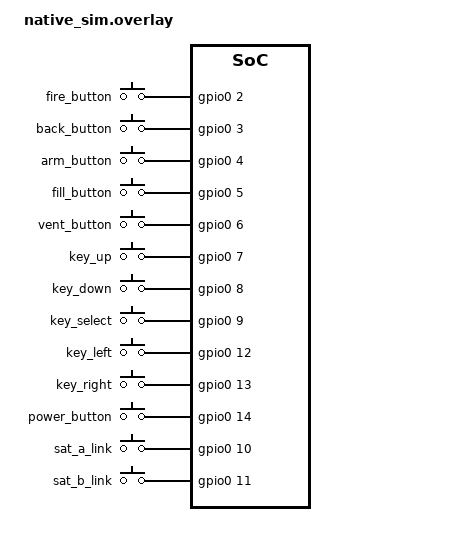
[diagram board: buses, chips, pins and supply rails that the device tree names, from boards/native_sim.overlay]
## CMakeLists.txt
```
# SPDX-License-Identifier: Apache-2.0

cmake_minimum_required(VERSION 3.20.0)

# The controller board itself: firmware/boards/others/alturia_controller.
list(APPEND BOARD_ROOT ${CMAKE_CURRENT_SOURCE_DIR}/..)

find_package(Zephyr REQUIRED HINTS $ENV{ZEPHYR_BASE})
project(launch_controller_ui)

# Headers LVGL itself includes (1-bit blend fix, see prj.conf)
zephyr_include_directories(src/lvgl)

target_sources(app PRIVATE
	src/main.c
	src/controller.c
	src/pads.c
	src/ui.c
	src/ui/widgets.c
	src/ui/list.c
	src/ui/armed.c
	src/ui/launch.c
	src/ui/menu.c
	src/ui/pads.c
	src/ui/sats.c
	src/ui/diag.c
	src/ui/dialogs.c
	src/inputs.c
	src/power.c
	src/battery.c
	src/shell_cmds.c
	src/link_lsec.c
	src/fonts/ui_font_18.c
	src/fonts/ui_font_20.c
	src/fonts/ui_font_28.c
	src/logo/ui_logo.c
)
# The views in src/ui include the app's headers from src
target_include_directories(app PRIVATE src)

# The controller's end of the secure link (../common/link). The satellite
# simulator stands in for the LoRa radio and the satellites; without it the
# link runs over the radio.
set(LSEC_LINK ctrl)
if(NOT CONFIG_APP_SAT_SIM)
	set(LSEC_RADIO ON)
endif()
include(${CMAKE_CURRENT_SOURCE_DIR}/../common/link/link_sec.cmake)

# Command and status payloads, shared with the satellite.
target_include_directories(app PRIVATE ../common/wire)
target_sources(app PRIVATE ../common/wire/sat_wire.c)

# Buzzer tunes, shared with the satellite.
target_include_directories(app PRIVATE ../common/chime)
target_sources(app PRIVATE ../common/chime/chime.c)

target_sources_ifdef(CONFIG_APP_SAT_SIM app PRIVATE src/sat_sim.c)
target_sources_ifdef(CONFIG_PM app PRIVATE src/sleep.c)

# A node of the radio network simulator (radiosim.conf, radiosim.overlay):
# the screen and the controls live in the simulator's web UI.
if(LSEC_RADIO_SIM)
	target_sources(app PRIVATE src/sim_display.c src/sim_panel.c)
endif()
```

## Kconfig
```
mainmenu "Launch controller UI"

config APP_SAT_SIM
	bool "Simulated satellites and LoRa link"
	default y
	help
	  Replace the LoRa link with an in-process satellite simulator.
	  Fault injection is available through the "sat" shell command.

config APP_PREARM_CONTINUITY
	bool "Satellites report continuity while disarmed"
	default y
	help
	  The satellites' continuity readings are real before arming, so the
	  main list shows them. Without it the list shows "?" until the
	  pads are armed, and continuity is only judged from the armed
	  readings. The satellite firmware measures through V_TEST while
	  disarmed, one output every 0.65 s or so.

config APP_ARMED_BEEP
	bool "Click every 2 s while armed"
	default y
	help
	  The buzzer clicks every 2 s while pads are armed, so nobody near
	  the controller can miss it. Arming, disarming, a launch, a fault
	  and a refused button have their tunes either way.

config APP_POLL_PERIOD_MS
	int "Heartbeat poll period in milliseconds"
	default 1200
	help
	  How often the controller polls its satellites when it has nothing
	  new to tell them. Keep it well below LINK_SAT_SAFE_TIMEOUT_MS: a
	  satellite goes SAFE after that long without a poll.

config APP_CMD_RETRY_MS
	int "Command retry period in milliseconds"
	default 300
	help
	  While a command (ARM, DISARM, FIRE, a valve change) has not been
	  acknowledged by the satellite's status, the controller polls this
	  often (plus up to 100 ms of jitter) instead of the heartbeat period.

config APP_ARM_TIMEOUT_S
	int "Arm timeout in seconds"
	default 60
	help
	  Operator inactivity after which the controller disarms. FILL and
	  VENT restart it, and it is paused while a hybrid pad is filling.

config APP_FIRE_HOLD_MS
	int "Fire button hold time in milliseconds"
	default 1000
	help
	  The fire control must be held continuously for this long
	  before the fire command is sent.

rsource "../common/link/Kconfig"

source "Kconfig.zephyr"
```

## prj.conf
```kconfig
CONFIG_MAIN_STACK_SIZE=8192

CONFIG_LOG=y
CONFIG_SHELL=y

CONFIG_DISPLAY=y
CONFIG_DISPLAY_LOG_LEVEL_ERR=y
# The emulated panel is small; show it at double size
CONFIG_SDL_DISPLAY_ZOOM_PCT=200
CONFIG_INPUT=y
# No touch: all input comes from physical controls
CONFIG_LV_Z_POINTER_FROM_CHOSEN_TOUCH=n
CONFIG_GPIO=y

CONFIG_LVGL=y
CONFIG_LV_Z_MEM_POOL_SIZE=196608
CONFIG_LV_Z_SHELL=y
CONFIG_LV_USE_LOG=y
# 1-bit Sharp Memory LCD class panel
CONFIG_LV_COLOR_DEPTH_1=y
# Fix inverted (white on black) text in 1-bit rendering, see src/lvgl/i1_blend_fix.h
CONFIG_LV_DRAW_SW_ASM_CUSTOM=y
CONFIG_LV_DRAW_SW_ASM_CUSTOM_INCLUDE="i1_blend_fix.h"
# UI fonts are generated, see src/fonts/gen.sh; this is only LVGL's default
CONFIG_LV_FONT_MONTSERRAT_14=y
CONFIG_LV_FONT_DEFAULT_MONTSERRAT_14=y
# Keep hyphenated words like E-STOP together when wrapping
CONFIG_LV_TXT_BREAK_CHARS=" ,.;:_)}"
CONFIG_LV_USE_THEME_DEFAULT=y
CONFIG_SHELL_LOG_BACKEND=n

# Persistent configuration (pad labels) on the storage partition
CONFIG_FLASH=y
CONFIG_FLASH_MAP=y
CONFIG_ZMS=y
CONFIG_SETTINGS=y
CONFIG_SETTINGS_ZMS=y
CONFIG_SETTINGS_SHELL=y

# Secure LoRa link, see design/radio_security.md: ECDH P-256 pairing,
# HMAC/HKDF-SHA256, AES-128-CCM frames
CONFIG_PSA_CRYPTO=y
CONFIG_MBEDTLS_ENABLE_HEAP=y
CONFIG_MBEDTLS_HEAP_SIZE=8192
CONFIG_PSA_WANT_KEY_TYPE_AES=y
CONFIG_PSA_WANT_ALG_CCM=y
CONFIG_PSA_WANT_ALG_SHA_256=y
CONFIG_PSA_WANT_ALG_HMAC=y
CONFIG_PSA_WANT_ALG_HKDF=y
CONFIG_PSA_WANT_ALG_ECDH=y
CONFIG_PSA_WANT_ECC_SECP_R1_256=y
CONFIG_PSA_WANT_KEY_TYPE_ECC_KEY_PAIR_GENERATE=y
CONFIG_PSA_WANT_KEY_TYPE_ECC_PUBLIC_KEY=y
CONFIG_ENTROPY_GENERATOR=y

# Reply slots are timed to the millisecond; the ESP32 default of 100 ticks
# per second would round every wait to 10 ms.
CONFIG_SYS_CLOCK_TICKS_PER_SEC=10000
```

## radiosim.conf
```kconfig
# The controller as a node of the radio network simulator (tools/radiosim):
# the real link over the simulated radio (common/lora/radio_sim.c) instead
# of the in-process satellite simulator. Build with
#   -DEXTRA_CONF_FILE=radiosim.conf -DEXTRA_DTC_OVERLAY_FILE=radiosim.overlay
CONFIG_APP_SAT_SIM=n
CONFIG_GPIO_EMUL=y
# The controller's net_id and a satellite's uid in the simulator's list
CONFIG_HWINFO=y
```

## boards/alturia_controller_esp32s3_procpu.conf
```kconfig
# The real controller board (firmware/boards/others/alturia_controller).
# The console and shell are on USB-C (USB Serial/JTAG).

# The LoRa link instead of the in-process satellite simulator (Wio-SX1262)
CONFIG_APP_SAT_SIM=n
CONFIG_LORA=y
CONFIG_LORA_SHELL=n

# The native SX126x driver, kept in standby between operations, as on the
# satellite (see firmware/satellite/boards/alturia_satellite.conf).
CONFIG_LORA_MODULE_BACKEND_NATIVE=y
CONFIG_LORA_SX126X_NATIVE_SLEEP=n

# Own battery: MAX17048 fuel gauge and BQ24296M charger on I2C
CONFIG_I2C=y
CONFIG_FUEL_GAUGE=y
CONFIG_CHARGER=y

# Start-up chime on the PWM buzzer
CONFIG_BUZZER=y

# Light sleep whenever every thread waits (src/sleep.c). The RTC timer
# wakes it for timeouts, the keys, LORA_DIO1 and USB_PGOOD for events.
CONFIG_PM=y
CONFIG_COUNTER=y
# Only for the RTC timer's wakeup-source, which the SoC code checks. The
# devices must not be suspended around each sleep: gpio-keys would mask
# the very interrupts that wake it.
CONFIG_PM_DEVICE=y
CONFIG_PM_DEVICE_SYSTEM_MANAGED=n

# Bring-up: poke pins from the shell (gpio get/set/conf/info)
CONFIG_GPIO_SHELL=y
CONFIG_PWM_SHELL=y
CONFIG_REBOOT=y

# The USB console is the shell, so logs have to go through it.
CONFIG_SHELL_LOG_BACKEND=y
```

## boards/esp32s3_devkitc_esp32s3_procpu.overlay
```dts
/*
 * ESP32-S3-DevKitC-1 with a bare 400x240 Sharp Memory LCD (LS027B7DH01)
 * on SPI2, for trying the UI on a real panel. There are no controls yet:
 * drive it with the "ctrl" and "sat" shell commands on the native USB port
 * (USB Serial/JTAG, the board's "USB" connector). Boot messages and logs
 * stay on uart0, the "UART" connector.
 *
 *   Panel   ESP32-S3   Note
 *   SCLK    IO45
 *   SI/DI   IO48
 *   SCS     IO47       active high, so it is driven as a plain GPIO
 *   VDD     3V3        5V on the Adafruit breakout
 *   GND     GND
 *
 * EXTCOMIN and DISP are left unconnected. Without EXTCOMIN the panel still
 * needs its VCOM inverted or it degrades, so the driver sends the inversion
 * over SPI instead (serial-vcom-inversion), and DISP is assumed tied high
 * on the breakout, which is why display_blanking_off() only warns here.
 */

#include <zephyr/dt-bindings/gpio/gpio.h>
#include <zephyr/dt-bindings/pinctrl/esp32s3-pinctrl.h>

/ {
	chosen {
		zephyr,display = &sharp_lcd;
		zephyr,shell-uart = &usb_serial;
	};
};

&usb_serial {
	status = "okay";
};

&pinctrl {
	/* Replaces the board's spim2_default; the panel is write-only, so
	 * there is no MISO, and CS is a GPIO rather than the SPI peripheral's.
	 */
	spim2_lcd: spim2_lcd {
		group1 {
			pinmux = <SPIM2_SCLK_GPIO45>;
		};

		group2 {
			pinmux = <SPIM2_MOSI_GPIO48>;
			output-low;
		};
	};
};

&spi2 {
	status = "okay";
	pinctrl-0 = <&spim2_lcd>;
	pinctrl-names = "default";
	cs-gpios = <&gpio1 15 GPIO_ACTIVE_HIGH>;	/* IO47 */

	sharp_lcd: ls0xx@0 {
		compatible = "sharp,ls0xx";
		reg = <0>;
		/* The panel is rated 2 MHz; the flying leads of a breadboard
		 * setup will not do much better anyway.
		 */
		spi-max-frequency = <2000000>;
		width = <400>;
		height = <240>;
		serial-vcom-inversion;
	};
};

/* IO45 is a strapping pin (VDD_SPI voltage) and IO48 drives the on-board
 * RGB LED on DevKitC-1 v1.0. Neither matters once the board has booted.
 */
```

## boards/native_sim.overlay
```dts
/*
 * native_sim: emulates a 400x240 1-bit Sharp Memory LCD (LS027B7DH01 class)
 * in an SDL window. There is no touch; mouse and keyboard stand in for the
 * controller's physical controls.
 *
 *   Arrows, Enter   D-pad (mouse wheel and click also work as up/down, OK)
 *   Esc    BACK button (hold to leave the button test)
 *   A      ARM button
 *   F      FILL button (hybrid pads, toggle)
 *   V      VENT button (hybrid pads, toggle)
 *   Space  FIRE button (hold)
 *   P      power button
 *
 * Simulator only (fault injection, not a controller control):
 *   F1, F2  toggle the radio link of satellite A, B
 */

#include <zephyr/dt-bindings/display/panel.h>
#include <zephyr/dt-bindings/input/input-event-codes.h>

&sdl_dc {
	width = <400>;
	height = <240>;
	pixel-format = <PANEL_PIXEL_FORMAT_MONO01>;
};

&gpio0 {
	ngpios = <15>;

	sdl_gpio {
		status = "okay";
		compatible = "zephyr,gpio-emul-sdl";
		/*
		 * USB HID scancodes, indexed by pin. Pin 0 is led0 and pin 1
		 * was an arm key switch the controller does not have, so both
		 * get the unused code 0.
		 * Space=44 Esc=41 A=4 F=9 V=25 Up=82 Down=81 Enter=40
		 * F1=58 F2=59 Left=80 Right=79 P=19
		 */
		scancodes = <0 0 44 41 4 9 25 82 81 40 58 59 80 79 19>;
	};
};

/ {
	ctrl_keys: ctrl_keys {
		compatible = "gpio-keys";

		fire_button {
			gpios = <&gpio0 2 GPIO_ACTIVE_HIGH>;
			zephyr,code = <INPUT_KEY_SPACE>;
		};

		back_button {
			gpios = <&gpio0 3 GPIO_ACTIVE_HIGH>;
			zephyr,code = <INPUT_KEY_BACK>;
		};

		arm_button {
			gpios = <&gpio0 4 GPIO_ACTIVE_HIGH>;
			zephyr,code = <INPUT_KEY_A>;
		};

		fill_button {
			gpios = <&gpio0 5 GPIO_ACTIVE_HIGH>;
			zephyr,code = <INPUT_KEY_F>;
		};

		vent_button {
			gpios = <&gpio0 6 GPIO_ACTIVE_HIGH>;
			zephyr,code = <INPUT_KEY_V>;
		};

		key_up {
			gpios = <&gpio0 7 GPIO_ACTIVE_HIGH>;
			zephyr,code = <INPUT_KEY_UP>;
		};

		key_down {
			gpios = <&gpio0 8 GPIO_ACTIVE_HIGH>;
			zephyr,code = <INPUT_KEY_DOWN>;
		};

		key_select {
			gpios = <&gpio0 9 GPIO_ACTIVE_HIGH>;
			zephyr,code = <INPUT_KEY_ENTER>;
		};

		key_left {
			gpios = <&gpio0 12 GPIO_ACTIVE_HIGH>;
			zephyr,code = <INPUT_KEY_LEFT>;
		};

		key_right {
			gpios = <&gpio0 13 GPIO_ACTIVE_HIGH>;
			zephyr,code = <INPUT_KEY_RIGHT>;
		};

		power_button {
			gpios = <&gpio0 14 GPIO_ACTIVE_HIGH>;
			zephyr,code = <INPUT_KEY_POWER>;
		};
	};

	/* Handled by the satellite simulator, see sat_sim.c */
	sim_keys {
		compatible = "gpio-keys";

		sat_a_link {
			gpios = <&gpio0 10 GPIO_ACTIVE_HIGH>;
			zephyr,code = <INPUT_KEY_F1>;
		};

		sat_b_link {
			gpios = <&gpio0 11 GPIO_ACTIVE_HIGH>;
			zephyr,code = <INPUT_KEY_F2>;
		};
	};
};
```

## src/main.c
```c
/*
 * Launch controller UI test bench.
 *
 * LVGL runs in the main thread. The controller state machine is ticked
 * from an LVGL timer in the same thread, so UI and controller never race.
 */

#include <zephyr/device.h>
#include <zephyr/drivers/display.h>
#include <zephyr/kernel.h>
#include <zephyr/logging/log.h>
#include <lvgl.h>

#include "chime.h"
#include "controller.h"
#include "link.h"
#include "pads.h"
#include "ui.h"

LOG_MODULE_REGISTER(app, LOG_LEVEL_INF);

#define CTRL_PERIOD_MS 50

static void ctrl_timer_cb(lv_timer_t *timer)
{
	ARG_UNUSED(timer);
	ctrl_tick();
	ui_refresh();
}

int main(void)
{
	const struct device *display = DEVICE_DT_GET(DT_CHOSEN(zephyr_display));

	if (!device_is_ready(display)) {
		LOG_ERR("display not ready");
		chime_error();
		return 0;
	}

	/* The splash first, while the rest starts up */
	ui_init();
	lv_timer_handler();
	display_blanking_off(display);

	(void)pads_init();
	/* After pads_init(), which brings up the settings subsystem */
	if (link_init()) {
		LOG_ERR("secure link failed to start");
		chime_error();
	} else {
		chime_startup();
	}
	lv_timer_create(ctrl_timer_cb, CTRL_PERIOD_MS, NULL);

	LOG_INF("launch controller UI running");

	/*
	 * Sleep until LVGL's next timer: the controller tick, or a redraw.
	 * Requests posted in between wait for the tick anyway, so waking more
	 * often would only cost battery.
	 */
	while (true) {
		uint32_t sleep_ms = lv_timer_handler();

		k_msleep(MIN(sleep_ms, CTRL_PERIOD_MS));
	}
	return 0;
}
```

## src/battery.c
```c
/* SPDX-License-Identifier: Apache-2.0 */

#include <errno.h>

#include <zephyr/device.h>
#include <zephyr/drivers/charger.h>
#include <zephyr/drivers/fuel_gauge.h>
#include <zephyr/drivers/gpio.h>
#include <zephyr/kernel.h>
#include <zephyr/logging/log.h>

#include "battery.h"

LOG_MODULE_REGISTER(battery, LOG_LEVEL_INF);

#define POLL_MS 2000

#define GAUGE_NODE   DT_ALIAS(fuel_gauge0)
#define CHARGER_NODE DT_ALIAS(charger0)
#define USER_NODE    DT_PATH(zephyr_user)

#define HAVE_GAUGE   (IS_ENABLED(CONFIG_FUEL_GAUGE) && DT_NODE_HAS_STATUS_OKAY(GAUGE_NODE))
#define HAVE_CHARGER (IS_ENABLED(CONFIG_CHARGER) && DT_NODE_HAS_STATUS_OKAY(CHARGER_NODE))

static K_MUTEX_DEFINE(lock);
static struct battery_info info = {.pgood = -1};

#if DT_NODE_HAS_PROP(USER_NODE, usb_pgood_gpios)
static const struct gpio_dt_spec pgood = GPIO_DT_SPEC_GET(USER_NODE, usb_pgood_gpios);
#endif

#if HAVE_GAUGE
static void read_gauge(struct battery_info *b)
{
	const struct device *dev = DEVICE_DT_GET(GAUGE_NODE);
	fuel_gauge_prop_t props[] = {
		FUEL_GAUGE_RELATIVE_STATE_OF_CHARGE_PCT,
		FUEL_GAUGE_VOLTAGE_UV,
		FUEL_GAUGE_RUNTIME_TO_EMPTY_MINS,
		FUEL_GAUGE_RUNTIME_TO_FULL_MINS,
	};
	union fuel_gauge_prop_val vals[ARRAY_SIZE(props)];

	b->gauge = device_is_ready(dev) &&
		   fuel_gauge_get_props(dev, props, vals, ARRAY_SIZE(props)) == 0;
	if (!b->gauge) {
		return;
	}
	b->soc_pct = MIN(vals[0].relative_state_of_charge_pct, 100);
	b->voltage_mv = vals[1].voltage_uv / 1000;
	b->to_empty_min = vals[2].runtime_to_empty_mins;
	b->to_full_min = vals[3].runtime_to_full_mins;
}
#endif

#if HAVE_CHARGER
static uint32_t charger_u32(const struct device *dev, charger_prop_t prop, bool *ok)
{
	union charger_propval val;

	if (charger_get_prop(dev, prop, &val)) {
		*ok = false;
		return 0;
	}
	/* Every property read here is a 32-bit current or voltage */
	return val.const_charge_current_ua;
}

static void read_charger(struct battery_info *b)
{
	const struct device *dev = DEVICE_DT_GET(CHARGER_NODE);
	union charger_propval val;
	bool ok = device_is_ready(dev);

	if (!ok) {
		b->charger = false;
		return;
	}
	ok &= charger_get_prop(dev, CHARGER_PROP_ONLINE, &val) == 0;
	b->online = val.online != CHARGER_ONLINE_OFFLINE;
	ok &= charger_get_prop(dev, CHARGER_PROP_STATUS, &val) == 0;
	b->status = val.status;
	ok &= charger_get_prop(dev, CHARGER_PROP_HEALTH, &val) == 0;
	b->health = val.health;

	b->ichg_ma = charger_u32(dev, CHARGER_PROP_CONSTANT_CHARGE_CURRENT_UA, &ok) / 1000;
	b->vreg_mv = charger_u32(dev, CHARGER_PROP_CONSTANT_CHARGE_VOLTAGE_UV, &ok) / 1000;
	b->iinlim_ma = charger_u32(dev, CHARGER_PROP_INPUT_REGULATION_CURRENT_UA, &ok) / 1000;
	b->vindpm_mv = charger_u32(dev, CHARGER_PROP_INPUT_REGULATION_VOLTAGE_UV, &ok) / 1000;
	b->iprechg_ma = charger_u32(dev, CHARGER_PROP_PRECHARGE_CURRENT_UA, &ok) / 1000;
	b->iterm_ma = charger_u32(dev, CHARGER_PROP_CHARGE_TERM_CURRENT_UA, &ok) / 1000;
	b->charger = ok;
}
#endif

static void poll(struct k_work *work);
static K_WORK_DELAYABLE_DEFINE(poll_work, poll);

static void poll(struct k_work *work)
{
	struct battery_info b;

	ARG_UNUSED(work);

	k_mutex_lock(&lock, K_FOREVER);
	b = info;
	k_mutex_unlock(&lock);

#if HAVE_GAUGE
	read_gauge(&b);
#endif
#if HAVE_CHARGER
	read_charger(&b);
#endif
#if DT_NODE_HAS_PROP(USER_NODE, usb_pgood_gpios)
	b.pgood = gpio_pin_get_dt(&pgood);
	b.pgood = b.pgood < 0 ? -1 : b.pgood;
#endif

	k_mutex_lock(&lock, K_FOREVER);
	info = b;
	k_mutex_unlock(&lock);

	k_work_reschedule(&poll_work, K_MSEC(POLL_MS));
}

static int battery_init(void)
{
#if DT_NODE_HAS_PROP(USER_NODE, usb_pgood_gpios)
	if (gpio_is_ready_dt(&pgood)) {
		(void)gpio_pin_configure_dt(&pgood, GPIO_INPUT);
	}
#endif
	k_work_reschedule(&poll_work, K_NO_WAIT);
	return 0;
}

SYS_INIT(battery_init, APPLICATION, 1);

void battery_get(struct battery_info *out)
{
	k_mutex_lock(&lock, K_FOREVER);
	*out = info;
	k_mutex_unlock(&lock);
}

bool battery_charging(const struct battery_info *b)
{
	return b->charger && b->status == CHARGER_STATUS_CHARGING;
}

int battery_fake(uint8_t soc_pct, bool charging)
{
	if (HAVE_GAUGE) {
		return -EBUSY;
	}
	k_mutex_lock(&lock, K_FOREVER);
	info.gauge = true;
	info.soc_pct = MIN(soc_pct, 100);
	info.voltage_mv = 3300 + 9 * info.soc_pct;
	info.charger = true;
	info.online = charging;
	info.status = charging ? CHARGER_STATUS_CHARGING : CHARGER_STATUS_DISCHARGING;
	info.health = CHARGER_HEALTH_GOOD;
	k_mutex_unlock(&lock);
	return 0;
}

const char *battery_status_text(enum charger_status status)
{
	switch (status) {
	case CHARGER_STATUS_CHARGING:
		return "charging";
	case CHARGER_STATUS_DISCHARGING:
		return "discharging";
	case CHARGER_STATUS_NOT_CHARGING:
		return "not charging";
	case CHARGER_STATUS_FULL:
		return "full";
	default:
		return "unknown";
	}
}

const char *battery_health_text(enum charger_health health)
{
	switch (health) {
	case CHARGER_HEALTH_GOOD:
		return "good";
	case CHARGER_HEALTH_OVERHEAT:
		return "overheat";
	case CHARGER_HEALTH_OVERVOLTAGE:
		return "overvoltage";
	case CHARGER_HEALTH_UNSPEC_FAILURE:
		return "input fault";
	case CHARGER_HEALTH_COLD:
		return "too cold";
	case CHARGER_HEALTH_WATCHDOG_TIMER_EXPIRE:
		return "watchdog";
	case CHARGER_HEALTH_SAFETY_TIMER_EXPIRE:
		return "timer expired";
	case CHARGER_HEALTH_HOT:
		return "too hot";
	default:
		return "unknown";
	}
}
```

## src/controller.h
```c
/*
 * Controller state machine. Owns every arm/fire/valve decision; the UI
 * only reads ctrl_view(). User intent arrives through ctrl_post(), from
 * the button input callback or the shell.
 * ctrl_tick() and ctrl_view() run in the LVGL thread.
 *
 * Operators select pads, not channels. The main list shows the pads of
 * every paired satellite, grouped by satellite in channel order; up and
 * down move over them, left and right jump to the previous and next
 * satellite, OK ticks a pad and BACK clears the ticks. ARM arms the ticked
 * pads, or the pad under the cursor if none is ticked, on every satellite
 * that hosts one of them. FIRE launches them all at once. On hybrid pads,
 * FILL and VENT toggle the valves while armed; either one, and LAUNCH,
 * stops a running fill.
 *
 * The controls are a D-pad (up, down, left, right, OK), BACK, ARM, FIRE,
 * FILL, VENT and the power button. BACK disarms, acknowledges a fault and
 * backs out of a screen.
 *
 * In SAFE, holding OK opens the menu:
 *  - Edit pad: the setup screen of the pad under the cursor.
 *  - Pads: every channel of every satellite and the pad using it; OK
 *    sets that pad up, or on a free channel sets up a new rocket pad.
 *  - Satellites: pairing and forgetting.
 *  - Messages: the last events, newest first.
 *  - Diagnostics, a menu of its own: the button test, which shows every
 *    button press instead of acting on it (holding BACK leaves), and the
 *    battery.
 *  - Power off.
 * While any of these is open, the D-pad acts on it, BACK backs out one
 * level, and ARM, FILL and VENT are refused. The power button asks to
 * switch off from anywhere in SAFE.
 */

#ifndef CONTROLLER_H_
#define CONTROLLER_H_

#include <stdbool.h>
#include <stdint.h>

#include "link.h"
#include "pads.h"

enum ctrl_state {
	CTRL_SAFE,
	CTRL_ARMING,
	CTRL_ARMED,
	CTRL_FIRING,
};

enum msg_level {
	MSG_INFO,   /* normal progress */
	MSG_WARN,   /* request refused or degraded, nothing unsafe happened */
	MSG_FAULT,  /* something went wrong during arm/fire, demands attention */
};

/* Commanded valve state of an armed hybrid pad */
enum hybrid_op {
	HYB_CLOSED,   /* fill closed, vent closed */
	HYB_FILLING,  /* fill open, vent closed */
	HYB_VENTING,  /* fill closed, vent open */
};

struct sat_view {
	uint64_t uid;   /* the paired satellite, 0 if none */
	bool joined;    /* secure session up */
	bool have_status;
	bool link_ok;   /* status received within the link timeout */
	/*
	 * Connected as far as the operator is told. Drops with link_ok, but
	 * only returns once the link has been stable for a while, so the
	 * state does not flicker at the edge of the radio range.
	 */
	bool visible;
	int64_t ok_since;
	int64_t rx_time;   /* uptime of the last status, -1 if none yet */
	struct sat_status st;
};

struct pad_view {
	/* Channel with a continuity problem, as text ("IGN OPEN"), or NULL */
	const char *problem;
	enum hybrid_op op;
	int64_t fill_start;
};

/* Characters offered by the label editor, in turning order */
#define LABEL_CHARSET " ABCDEFGHIJKLMNOPQRSTUVWXYZ0123456789-./#"

enum setup_field {
	FIELD_LABEL,
	FIELD_TYPE,
	FIELD_SAT,
	FIELD_IGN,
	FIELD_FILL,
	FIELD_VENT,
	FIELD_COUNT,
};

enum setup_mode {
	SETUP_FIELDS,  /* up/down: field, left/right: its value */
	SETUP_LABEL,   /* up/down: character, left/right: position */
};

/* Pad setup screen */
struct pad_setup {
	bool active;
	enum setup_mode mode;
	int pad;
	int field;
	int pos;                          /* label character being edited */
	char label[PAD_LABEL_MAX + 1];    /* being edited, space padded; BACK drops it */
	struct pad_cfg cfg;               /* draft */
	bool is_new;                      /* the pad was OFF: a new one */
	const char *error;                /* why the draft cannot be saved */
};

/* A list with a cursor: a menu, or the pad list */
struct menu_view {
	bool active;
	int cursor;
};

/* Menu entries, top to bottom */
enum settings_entry {
	SETTINGS_EDIT,
	SETTINGS_PADS,
	SETTINGS_SATS,
	SETTINGS_MSGS,
	SETTINGS_DIAG,
	SETTINGS_OFF,
	SETTINGS_COUNT,
};

/* Diagnostics menu entries, and the screen they open */
enum diag_entry {
	DIAG_BUTTONS,
	DIAG_BATTERY,
	DIAG_COUNT,
	DIAG_NONE = -1,
};

/* Satellites screen, opened from the settings screen */
struct sats_view {
	bool active;
	int cursor;
};

enum pair_phase {
	PAIR_SCAN,       /* listing satellites in pairing mode */
	PAIR_WAIT,       /* key exchange running */
	PAIR_COMPARE,    /* pattern shown, waiting for the operator */
	PAIR_CONFIRMED,  /* operator confirmed, waiting for the satellite's */
};

#define PAIR_MAX_FOUND 4

/*
 * Pairing one satellite slot, see design/radio_security.md. The operator
 * compares the pattern with the satellite's channel LEDs and confirms on
 * both devices.
 */
struct pair_view {
	bool active;
	enum pair_phase phase;
	int sat;
	int found;
	int cursor;
	uint64_t uid[PAIR_MAX_FOUND];
	int16_t rssi_dbm[PAIR_MAX_FOUND];
	uint8_t sas[LSEC_SAS_FRAMES];
};

/* Rows of the armed continuity table visible at once; up and down scroll */
#define ARMED_TABLE_ROWS 5

/* Messages visible at once on the messages screen */
#define MESSAGES_ROWS 8

struct ctrl_view {
	enum ctrl_state state;
	struct sat_view sat[NUM_SATS];
	struct pad_view pad[NUM_PADS];
	uint64_t selected;        /* ticked pads, BIT64(pad); while armed, the armed ones */
	/* What ARM would arm now: the ticked pads, else the one under the cursor */
	uint64_t arm_set;
	int cursor;               /* pad under the list cursor, -1 if none is listed */
	int table_scroll;         /* first visible row of the armed table */
	struct menu_view settings;    /* the menu, opened by holding OK */
	/* Channels of all satellites, from the menu; cursor: see ctrl_pads_sats() */
	struct menu_view pad_list;
	struct pad_setup setup;       /* from the menu or the channel list */
	struct menu_view messages;    /* from the menu; cursor: newest shown */
	struct sats_view sats;        /* from the settings menu */
	struct pair_view pair;        /* opened from the satellites screen */
	struct menu_view diag_menu;   /* from the settings menu */
	int diag;                     /* open diagnostics screen, DIAG_NONE if none */
	bool power_confirm;       /* asking whether to switch off */
	bool powering_off;        /* switched off, waiting for the power to go */
	/* Why arming is currently not possible, NULL if it is */
	const char *arm_block;
	/* Why launching is currently not possible while armed, NULL if it is */
	const char *launch_block;
	int32_t arm_remaining_ms;
	bool arm_timer_paused;    /* while filling */
	int32_t fire_hold_ms;
	char message[80];
	enum msg_level message_level;
	int64_t message_time;
	bool fault_active;        /* the last fault still needs a BACK press */
	uint8_t channel_util;     /* % busy, every network counted */
	uint8_t other_nets;       /* other controllers' networks heard */
	bool channel_crowded;     /* commands may take several tries */
};

void ctrl_tick(void);
const struct ctrl_view *ctrl_view(void);
const char *ctrl_state_name(enum ctrl_state state);

/* In the main list: enabled, on a paired satellite */
bool ctrl_pad_listed(int p);

/*
 * The listed pads in the main list's order: by satellite, then by
 * igniter channel. Returns how many.
 */
int ctrl_list_order(int order[NUM_PADS]);

/*
 * The satellites on the Pads screen: paired ones and any that pads are
 * set up on. Returns how many. Its cursor is index * NUM_CHANNELS + channel.
 */
int ctrl_pads_sats(int sats[NUM_SATS]);

/* The enabled pad that uses a satellite channel, -1 if it is free */
int ctrl_channel_pad(int sat, int ch);

/* The last messages, newest first */
#define CTRL_EVENTS 16

struct ctrl_event {
	char text[80];
	enum msg_level level;
	int64_t time;
};

/* The age-th most recent message (0 = the latest), NULL past the oldest */
const struct ctrl_event *ctrl_event(int age);

enum ctrl_req_type {
	CTRL_REQ_TOGGLE_PAD,  /* arg: pad */
	CTRL_REQ_CURSOR,      /* up/down, arg: rows to move, negative is up */
	CTRL_REQ_ADJUST,      /* left/right, arg: steps, negative is left */
	CTRL_REQ_SELECT,      /* OK: toggle the pad under the cursor */
	CTRL_REQ_EDIT,        /* OK held: settings, or save in pad setup */
	CTRL_REQ_ARM,
	CTRL_REQ_BACK,        /* disarm, acknowledge, back out */
	CTRL_REQ_BACK_LONG,   /* BACK held: leaves the button test */
	CTRL_REQ_FILL,
	CTRL_REQ_VENT,
	CTRL_REQ_POWER,       /* power button: ask to switch off */
};

/* Thread-safe; the request is executed in the next ctrl_tick(). */
void ctrl_post(enum ctrl_req_type type, int arg);

#endif /* CONTROLLER_H_ */
```

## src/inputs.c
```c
#include <string.h>

#include <zephyr/device.h>
#include <zephyr/input/input.h>
#include <zephyr/kernel.h>
#include <zephyr/logging/log.h>
#include <zephyr/spinlock.h>
#include <zephyr/sys/atomic.h>

#include "controller.h"
#include "inputs.h"

LOG_MODULE_REGISTER(inputs, LOG_LEVEL_INF);

/* Levels, written from the input thread and read from the LVGL thread */
static atomic_t fire_held;

/* OK or BACK held this long is a long press */
#define LONG_PRESS_MS 600

static atomic_t ok_long_fired;

static void ok_long_press(struct k_work *work)
{
	ARG_UNUSED(work);
	atomic_set(&ok_long_fired, 1);
	ctrl_post(CTRL_REQ_EDIT, 0);
}

static K_WORK_DELAYABLE_DEFINE(ok_long_work, ok_long_press);

static void back_long_press(struct k_work *work)
{
	ARG_UNUSED(work);
	ctrl_post(CTRL_REQ_BACK_LONG, 0);
}

static K_WORK_DELAYABLE_DEFINE(back_long_work, back_long_press);

/* Up or down held: the cursor keeps moving, for long lists */
#define REPEAT_DELAY_MS  400
#define REPEAT_PERIOD_MS 120

static atomic_t repeat_dir;   /* -1 up, 1 down, 0 neither held */

static void repeat_step(struct k_work *work);
static K_WORK_DELAYABLE_DEFINE(repeat_work, repeat_step);

static void repeat_step(struct k_work *work)
{
	int dir = (int)atomic_get(&repeat_dir);

	ARG_UNUSED(work);
	if (dir) {
		ctrl_post(CTRL_REQ_CURSOR, dir);
		k_work_reschedule(&repeat_work, K_MSEC(REPEAT_PERIOD_MS));
	}
}

/* Key codes per button, as the board devicetree (or native_sim) gives them */
static const struct {
	uint16_t code;
	const char *name;
} buttons[BTN_COUNT] = {
	[BTN_ARM] = {INPUT_KEY_A, "ARM"},
	[BTN_FIRE] = {INPUT_KEY_SPACE, "FIRE"},
	[BTN_FILL] = {INPUT_KEY_F, "FILL"},
	[BTN_VENT] = {INPUT_KEY_V, "VENT"},
	[BTN_UP] = {INPUT_KEY_UP, "UP"},
	[BTN_DOWN] = {INPUT_KEY_DOWN, "DOWN"},
	[BTN_LEFT] = {INPUT_KEY_LEFT, "LEFT"},
	[BTN_RIGHT] = {INPUT_KEY_RIGHT, "RIGHT"},
	[BTN_OK] = {INPUT_KEY_ENTER, "OK"},
	[BTN_BACK] = {INPUT_KEY_BACK, "BACK"},
	[BTN_POWER] = {INPUT_KEY_POWER, "POWER"},
};

const char *button_name(enum button b)
{
	return b < BTN_COUNT ? buttons[b].name : "?";
}

/* Button test state, written from the input thread */
static struct k_spinlock diag_lock;
static struct inputs_diag diag;
static int64_t pressed_at[BTN_COUNT];

static int button_of(uint16_t code)
{
	for (int b = 0; b < BTN_COUNT; b++) {
		if (buttons[b].code == code) {
			return b;
		}
	}
	return -1;
}

static void record(int b, bool pressed)
{
	k_spinlock_key_t k = k_spin_lock(&diag_lock);
	int64_t now = k_uptime_get();
	struct button_event ev = {.button = b, .pressed = pressed, .time = now};

	if (pressed) {
		diag.pressed |= BIT(b);
		diag.count[b]++;
		pressed_at[b] = now;
	} else {
		diag.pressed &= ~BIT(b);
		ev.held_ms = (int32_t)(now - pressed_at[b]);
	}
	memmove(&diag.log[1], &diag.log[0], sizeof(diag.log[0]) * (INPUTS_LOG_LEN - 1));
	diag.log[0] = ev;
	diag.n_log = MIN(diag.n_log + 1, INPUTS_LOG_LEN);
	k_spin_unlock(&diag_lock, k);
}

void inputs_diag(struct inputs_diag *out)
{
	k_spinlock_key_t k = k_spin_lock(&diag_lock);

	*out = diag;
	k_spin_unlock(&diag_lock, k);
}

bool inputs_pressed(enum button b)
{
	k_spinlock_key_t k = k_spin_lock(&diag_lock);
	bool pressed = (diag.pressed & BIT(b)) != 0;

	k_spin_unlock(&diag_lock, k);
	return pressed;
}

static void on_ok(bool pressed)
{
	if (pressed) {
		atomic_clear(&ok_long_fired);
		k_work_reschedule(&ok_long_work, K_MSEC(LONG_PRESS_MS));
	} else {
		/* Released before the long press fired: a normal select */
		k_work_cancel_delayable(&ok_long_work);
		if (!atomic_clear(&ok_long_fired)) {
			ctrl_post(CTRL_REQ_SELECT, 0);
		}
	}
}

static void on_input(struct input_event *evt, void *user_data)
{
	int b;

	ARG_UNUSED(user_data);

	/* Mouse wheel and click on native_sim, as the D-pad's up/down and OK */
	if (evt->type == INPUT_EV_REL && evt->code == INPUT_REL_WHEEL) {
		ctrl_post(CTRL_REQ_CURSOR, -evt->value);
		return;
	}
	if (evt->type != INPUT_EV_KEY) {
		return;
	}
	if (evt->code == INPUT_BTN_TOUCH) {
		on_ok(evt->value != 0);
		return;
	}

	b = button_of(evt->code);
	if (b < 0) {
		return;
	}
	record(b, evt->value != 0);

	switch (b) {
	case BTN_FIRE:
		atomic_set(&fire_held, evt->value != 0);
		break;
	case BTN_ARM:
		if (evt->value) {
			ctrl_post(CTRL_REQ_ARM, 0);
		}
		break;
	case BTN_BACK:
		/* On press, so that disarming never waits for a release */
		if (evt->value) {
			ctrl_post(CTRL_REQ_BACK, 0);
			k_work_reschedule(&back_long_work, K_MSEC(LONG_PRESS_MS));
		} else {
			k_work_cancel_delayable(&back_long_work);
		}
		break;
	case BTN_FILL:
		if (evt->value) {
			ctrl_post(CTRL_REQ_FILL, 0);
		}
		break;
	case BTN_VENT:
		if (evt->value) {
			ctrl_post(CTRL_REQ_VENT, 0);
		}
		break;
	case BTN_UP:
	case BTN_DOWN: {
		int dir = b == BTN_UP ? -1 : 1;

		if (evt->value) {
			ctrl_post(CTRL_REQ_CURSOR, dir);
			atomic_set(&repeat_dir, dir);
			k_work_reschedule(&repeat_work, K_MSEC(REPEAT_DELAY_MS));
		} else if (atomic_cas(&repeat_dir, dir, 0)) {
			k_work_cancel_delayable(&repeat_work);
		}
		break;
	}
	case BTN_LEFT:
	case BTN_RIGHT:
		if (evt->value) {
			ctrl_post(CTRL_REQ_ADJUST, b == BTN_LEFT ? -1 : 1);
		}
		break;
	case BTN_OK:
		on_ok(evt->value != 0);
		break;
	case BTN_POWER:
		if (evt->value) {
			ctrl_post(CTRL_REQ_POWER, 0);
		}
		break;
	default:
		break;
	}
}

/* All input devices: the buttons, and the mouse on native_sim */
INPUT_CALLBACK_DEFINE(NULL, on_input, NULL);

bool inputs_fire_held(void)
{
	return atomic_get(&fire_held) != 0;
}

void inputs_set_fire(bool held)
{
	atomic_set(&fire_held, held);
}
```

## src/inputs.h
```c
/*
 * Physical controls of the controller (keyboard keys on native_sim).
 * Momentary buttons (ARM, FILL, VENT, the D-pad, BACK, power) are posted
 * to the controller directly; the level inputs below are polled.
 */

#ifndef INPUTS_H_
#define INPUTS_H_

#include <stdbool.h>
#include <stdint.h>

bool inputs_key_on(void);
bool inputs_fire_held(void);

/* Overrides for the shell, e.g. when the SDL window has no focus. */
void inputs_set_key(bool on);
void inputs_set_fire(bool held);

/* Every button, for the button test screen */
enum button {
	BTN_ARM,
	BTN_FIRE,
	BTN_FILL,
	BTN_VENT,
	BTN_UP,
	BTN_DOWN,
	BTN_LEFT,
	BTN_RIGHT,
	BTN_OK,
	BTN_BACK,
	BTN_POWER,
	BTN_KEY,     /* arm key switch, only with CONFIG_APP_KEY_SWITCH */
	BTN_COUNT,
};

const char *button_name(enum button b);

#define INPUTS_LOG_LEN 4

struct button_event {
	uint8_t button;
	bool pressed;
	int64_t time;      /* uptime, ms */
	int32_t held_ms;   /* on release: how long it was down */
};

struct inputs_diag {
	uint32_t pressed;               /* bit per enum button */
	uint32_t count[BTN_COUNT];      /* presses since boot */
	int n_log;                      /* entries in log, newest first */
	struct button_event log[INPUTS_LOG_LEN];
};

void inputs_diag(struct inputs_diag *out);

bool inputs_pressed(enum button b);

#endif /* INPUTS_H_ */
```

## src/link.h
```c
/*
 * Controller <-> satellite link interface.
 *
 * Implemented by link_lsec.c on the secure link in ../common/link: every
 * command and status travels sealed (AES-CCM, replay-checked) between
 * paired devices, see design/radio_security.md. The frames go over the
 * LoRa radio, or with CONFIG_APP_SAT_SIM through sat_sim.c's simulated
 * air to simulated satellites that run the same crypto.
 */

#ifndef LINK_H_
#define LINK_H_

#include <stdbool.h>
#include <stdint.h>

#include "lsec.h"
#include "sat_wire.h"

#define NUM_SATS 2

/*
 * Poll every joined satellite: one broadcast carrying cmds[sat] for each,
 * which each answers with its status in its own reply slot, the short one
 * unless @p full. The poll may be lost. -ENOTCONN if no satellite is
 * joined, -EBUSY if polls are queueing up faster than they can be sent.
 */
int link_poll(const struct link_cmd cmds[NUM_SATS], bool full);

/*
 * Copy the most recently received status of one satellite. Returns the
 * uptime in ms at which it was received, or -1 if none was received yet.
 */
int64_t link_last_status(int sat, struct sat_status *out);

/* Start the secure link. Needs settings_subsys_init() first. */
int link_init(void);

/*
 * Pairing. Satellite sat uses lsec slot sat + 1. Outcomes arrive as
 * events, see link_pair_event().
 */
void link_scan(bool on);
int link_pair(int sat, uint64_t uid);
void link_pair_confirm(bool accept);
int link_forget(int sat);
/* The paired satellite's uid, 0 if the slot is empty. */
uint64_t link_paired_uid(int sat);
bool link_joined(int sat);

/*
 * When the next regular poll should go out, in uptime ms: a period after
 * the last one actually did, placed in the gap between other networks'
 * polls. 0 while the last poll is still waiting to go out.
 */
int64_t link_next_poll_ms(uint32_t period_ms);

/*
 * How busy the channel is, every network counted, in % of the last few
 * seconds, and how many other networks the controller hears.
 */
void link_channel(uint8_t *util_pct, uint8_t *other_nets);

/* A pairing event for the controller: ADV, SAS, PAIRED or PAIR_FAILED. */
struct link_pair_event {
	enum lsec_event_type type;
	int sat;
	uint64_t uid;
	int16_t rssi_dbm;
	enum lsec_fail reason;
	uint8_t sas[LSEC_SAS_FRAMES];
};

/* Take the next pairing event; false if there is none. */
bool link_pair_event(struct link_pair_event *ev);

#endif /* LINK_H_ */
```

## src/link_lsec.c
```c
/*
 * link.h on the secure link (../common/link/ctrl_link.c). Commands go out
 * in one group-sealed poll per tick, and each satellite's status comes
 * back sealed in its reply slot; neither is sent or accepted without a
 * joined session.
 */

#include <string.h>

#include <zephyr/kernel.h>
#include <zephyr/logging/log.h>

#include "ctrl_link.h"
#include "link.h"
#include "sat_wire.h"
#include "pads.h"

#ifdef CONFIG_APP_SAT_SIM
#include "sat_sim.h"
#else
#include "radio.h"
#endif

LOG_MODULE_REGISTER(link, LOG_LEVEL_INF);

#define SLOT(sat) ((uint8_t)((sat) + 1))

static K_MUTEX_DEFINE(lock);
static struct sat_status rx_status[NUM_SATS];
static int64_t rx_time[NUM_SATS] = {[0 ... NUM_SATS - 1] = -1};

K_MSGQ_DEFINE(pair_events, sizeof(struct link_pair_event), 8, 4);

static void queue_pair_event(const struct lsec_event *ev)
{
	struct link_pair_event pe = {
		.type = ev->type,
		.sat = ev->slot - 1,
		.uid = ev->uid,
		.rssi_dbm = ev->rssi_dbm,
		.reason = ev->reason,
	};

	memcpy(pe.sas, ev->sas, sizeof(pe.sas));
	if (k_msgq_put(&pair_events, &pe, K_NO_WAIT)) {
		LOG_WRN("pairing event %d dropped", ev->type);
	}
}

/* Runs on the link thread. */
static void on_event(const struct lsec_event *ev)
{
	struct sat_status st;
	int sat = ev->slot - 1;

	switch (ev->type) {
	case LSEC_EV_DATA:
		if (sat < 0 || sat >= NUM_SATS || ev->group) {
			return;
		}
		/* A short status updates the last one; the full-only fields stay. */
		k_mutex_lock(&lock, K_FOREVER);
		st = rx_status[sat];
		if (wire_decode_status(ev->data, ev->len, &st) == 0) {
			rx_status[sat] = st;
			rx_time[sat] = k_uptime_get();
		}
		k_mutex_unlock(&lock);
		break;
	case LSEC_EV_JOINED:
		LOG_INF("satellite %c: session up", sat_name(sat));
		break;
	case LSEC_EV_LEFT:
		LOG_WRN("satellite %c: no reply for %u ms, session dropped", sat_name(sat),
			LSEC_PEER_TIMEOUT_MS);
		break;
	case LSEC_EV_POLL:
		break;   /* satellite side only */
	default:
		queue_pair_event(ev);
		break;
	}
}

int link_init(void)
{
#ifdef CONFIG_APP_SAT_SIM
	return ctrl_link_init(on_event, sat_sim_transport());
#else
	/* The controller's LoRa module has no external front-end. */
	int ret = radio_init(NULL);

	if (ret) {
		LOG_ERR("radio init: %d", ret);
		return ret;
	}
	return ctrl_link_init(on_event, &link_radio_transport);
#endif
}

int link_poll(const struct link_cmd cmds[NUM_SATS], bool full)
{
	uint8_t buf[WIRE_POLL_MAX_LEN(NUM_SATS)];
	/* Satellite n is slot n + 1, which is bit n of the link's mask. */
	uint8_t mask = ctrl_link_joined_mask() & BIT_MASK(NUM_SATS);
	size_t len;

	/* Without a session a command is lost, like any other lost packet. */
	if (mask == 0) {
		return -ENOTCONN;
	}

	len = wire_encode_poll(cmds, NUM_SATS, mask, full, buf);
	return ctrl_link_poll(mask, buf, len, full ? WIRE_STATUS_LEN : WIRE_STATUS_SHORT_LEN);
}

int64_t link_next_poll_ms(uint32_t period_ms)
{
	return ctrl_link_next_poll_ms(period_ms);
}

void link_channel(uint8_t *util_pct, uint8_t *other_nets)
{
	struct ctrl_link_state ls;

	ctrl_link_state(&ls);
	*util_pct = ls.util_pct;
	*other_nets = ls.foreign_nets;
}

int64_t link_last_status(int sat, struct sat_status *out)
{
	int64_t t;

	k_mutex_lock(&lock, K_FOREVER);
	*out = rx_status[sat];
	t = rx_time[sat];
	k_mutex_unlock(&lock);
	return t;
}

void link_scan(bool on)
{
	ctrl_link_scan(on);
}

int link_pair(int sat, uint64_t uid)
{
	return ctrl_link_pair_start(uid, SLOT(sat));
}

void link_pair_confirm(bool accept)
{
	ctrl_link_pair_confirm(accept);
}

int link_forget(int sat)
{
	int ret = ctrl_link_forget(SLOT(sat));

	k_mutex_lock(&lock, K_FOREVER);
	rx_time[sat] = -1;
	k_mutex_unlock(&lock);
	return ret;
}

uint64_t link_paired_uid(int sat)
{
	return ctrl_link_paired_uid(SLOT(sat));
}

bool link_joined(int sat)
{
	return ctrl_link_joined(SLOT(sat));
}

bool link_pair_event(struct link_pair_event *ev)
{
	return k_msgq_get(&pair_events, ev, K_NO_WAIT) == 0;
}
```

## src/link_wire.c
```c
/* See link_wire.h. Little-endian throughout. */

#include <errno.h>
#include <string.h>

#include <zephyr/sys/byteorder.h>
#include <zephyr/sys/util.h>

#include "link_wire.h"

enum wire_type {
	WIRE_STATUS = 2,
	WIRE_POLL = 3,
};

size_t wire_encode_poll(const struct link_cmd cmds[NUM_SATS], uint8_t mask, uint8_t *out)
{
	uint8_t *p = out;

	*p++ = WIRE_POLL;
	for (int sat = 0; sat < NUM_SATS; sat++) {
		if (mask & BIT(sat)) {
			*p++ = cmds[sat].type;
			*p++ = cmds[sat].mask;
			*p++ = cmds[sat].valves;
		}
	}
	return p - out;
}

int wire_decode_poll(const uint8_t *buf, size_t len, uint8_t rank, uint8_t count,
		     struct link_cmd *cmd)
{
	const uint8_t *rec = buf + 1 + rank * WIRE_POLL_CMD_LEN;

	if (len != 1 + (size_t)count * WIRE_POLL_CMD_LEN || buf[0] != WIRE_POLL ||
	    rank >= count || rec[0] > CMD_FIRE) {
		return -EINVAL;
	}

	cmd->type = rec[0];
	cmd->mask = rec[1];
	cmd->valves = rec[2];
	return 0;
}

size_t wire_encode_status(const struct sat_status *st, uint8_t *out)
{
	uint8_t *p = out;
	uint16_t cont = 0;

	*p++ = WIRE_STATUS;
	sys_put_le32(st->seq, p);
	p += 4;
	*p++ = st->state;
	*p++ = (st->key_armed ? BIT(0) : 0) | (st->estop ? BIT(1) : 0);
	*p++ = st->armed_mask;
	*p++ = st->firing_mask;
	*p++ = st->valve_mask;
	*p++ = st->fire_count;
	*p++ = st->arm_refused;
	for (int ch = 0; ch < NUM_CHANNELS; ch++) {
		sys_put_le32(st->res_mohm[ch], p);
		p += 4;
		cont |= (st->cont[ch] & 0x3) << (2 * ch);
	}
	sys_put_le16(cont, p);
	p += 2;
	sys_put_le16(CLAMP(st->vbat_mv, 0, UINT16_MAX), p);
	p += 2;
	sys_put_le16(CLAMP(st->rail_ma, 0, UINT16_MAX), p);
	p += 2;
	sys_put_le16(st->rssi_dbm, p);
	p += 2;
	*p++ = st->snr_db;

	return p - out;
}

int wire_decode_status(const uint8_t *buf, size_t len, struct sat_status *st)
{
	const uint8_t *p = buf;
	uint16_t cont;

	if (len != WIRE_STATUS_LEN || buf[0] != WIRE_STATUS || buf[5] > SAT_FIRING) {
		return -EINVAL;
	}

	p++;
	st->seq = sys_get_le32(p);
	p += 4;
	st->state = *p++;
	st->key_armed = *p & BIT(0);
	st->estop = *p++ & BIT(1);
	st->armed_mask = *p++;
	st->firing_mask = *p++;
	st->valve_mask = *p++;
	st->fire_count = *p++;
	st->arm_refused = *p++;
	for (int ch = 0; ch < NUM_CHANNELS; ch++) {
		st->res_mohm[ch] = (int32_t)sys_get_le32(p);
		p += 4;
	}
	cont = sys_get_le16(p);
	p += 2;
	for (int ch = 0; ch < NUM_CHANNELS; ch++) {
		st->cont[ch] = MIN((cont >> (2 * ch)) & 0x3, CONT_SHORT);
	}
	st->vbat_mv = sys_get_le16(p);
	p += 2;
	st->rail_ma = sys_get_le16(p);
	p += 2;
	st->rssi_dbm = (int16_t)sys_get_le16(p);
	p += 2;
	st->snr_db = (int8_t)*p;

	return 0;
}
```

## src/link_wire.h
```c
/*
 * Command and status payloads as they travel inside sealed lsec frames:
 * the commands inside the controller's poll, and each satellite's status
 * in its reply slot.
 *
 * Provisional: enough for the controller and the simulator to exercise the
 * secure link end to end. The status is too big for more than two
 * satellites at the controller's 250 ms cadence; see design/radio_security.md,
 * "Channel access".
 */

#ifndef LINK_WIRE_H_
#define LINK_WIRE_H_

#include <stddef.h>
#include <stdint.h>

#include "link.h"

/* A poll: a type byte, then one 3-byte command per addressed satellite. */
#define WIRE_POLL_CMD_LEN 3
#define WIRE_POLL_MAX_LEN (1 + NUM_SATS * WIRE_POLL_CMD_LEN)
#define WIRE_STATUS_LEN   45

/*
 * The commands for the satellites in @p mask (bit n = satellite n), in
 * the order of the set bits, which is the order of their reply slots.
 */
size_t wire_encode_poll(const struct link_cmd cmds[NUM_SATS], uint8_t mask, uint8_t *out);
/* Take the command for the satellite at @p rank of @p count addressed. */
int wire_decode_poll(const uint8_t *buf, size_t len, uint8_t rank, uint8_t count,
		     struct link_cmd *cmd);

size_t wire_encode_status(const struct sat_status *st, uint8_t *out);
int wire_decode_status(const uint8_t *buf, size_t len, struct sat_status *st);

#endif /* LINK_WIRE_H_ */
```

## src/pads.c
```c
#include <stdio.h>
#include <stdlib.h>
#include <string.h>

#include <zephyr/logging/log.h>
#include <zephyr/settings/settings.h>

#include "pads.h"

LOG_MODULE_REGISTER(pads, LOG_LEVEL_INF);

BUILD_ASSERT(NUM_PADS <= 64, "pad masks are 64 bits");

/* Defaults for a new controller, replaced by whatever is stored */
struct pad_cfg pads[NUM_PADS] = {
	/* Satellite A: one hybrid pad and three rocket pads */
	{.type = PAD_HYBRID, .sat = 0, .ign = 0, .fill = 4, .vent = 5},
	{.type = PAD_ROCKET, .sat = 0, .ign = 1},
	{.type = PAD_ROCKET, .sat = 0, .ign = 2},
	{.type = PAD_ROCKET, .sat = 0, .ign = 3},
	/* Satellite B: one hybrid pad and two rocket pads, CH4 unused */
	{.type = PAD_HYBRID, .sat = 1, .ign = 0, .fill = 4, .vent = 5},
	{.type = PAD_ROCKET, .sat = 1, .ign = 1},
	{.type = PAD_ROCKET, .sat = 1, .ign = 2},
};

static bool cfg_valid(const struct pad_cfg *cfg)
{
	return cfg->type < PAD_TYPE_COUNT && cfg->sat < NUM_SATS &&
	       cfg->ign < NUM_CHANNELS && cfg->fill < NUM_CHANNELS &&
	       cfg->vent < NUM_CHANNELS && cfg->label[PAD_LABEL_MAX] == '\0';
}

static int pads_set(const char *name, size_t len, settings_read_cb read_cb, void *cb_arg)
{
	int p = atoi(name) - 1;
	struct pad_cfg cfg;

	if (p < 0 || p >= NUM_PADS || len != sizeof(cfg)) {
		LOG_WRN("ignoring stored pad/%s", name);
		return 0;
	}
	if (read_cb(cb_arg, &cfg, sizeof(cfg)) != sizeof(cfg) || !cfg_valid(&cfg)) {
		LOG_WRN("pad %d: stored configuration is invalid, using default", p + 1);
		return 0;
	}
	pads[p] = cfg;
	return 0;
}

SETTINGS_STATIC_HANDLER_DEFINE(pad, "pad", NULL, pads_set, NULL, NULL);

int pads_init(void)
{
	int err = settings_subsys_init();

	if (err) {
		LOG_ERR("settings init failed (%d), pad setup will not persist", err);
		return err;
	}
	err = settings_load_subtree("pad");

	/* Stored pads are checked one by one; make sure they fit together */
	for (int p = 0; p < NUM_PADS; p++) {
		const char *why = pads_check(p, &pads[p]);

		if (why) {
			LOG_ERR("pad %d disabled: %s", p + 1, why);
			pads[p].type = PAD_OFF;
		}
	}
	return err;
}

const char *pads_check(int p, const struct pad_cfg *cfg)
{
	static char buf[48];
	uint8_t used = pad_channels(cfg);

	if (cfg->type == PAD_HYBRID &&
	    (cfg->ign == cfg->fill || cfg->ign == cfg->vent || cfg->fill == cfg->vent)) {
		return "Igniter, fill and vent need different channels";
	}

	for (int other = 0; other < NUM_PADS; other++) {
		uint8_t clash;

		if (other == p || pads[other].sat != cfg->sat) {
			continue;
		}
		clash = used & pad_channels(&pads[other]);
		if (clash) {
			snprintf(buf, sizeof(buf), "CH%d on satellite %c is used by pad %d",
				 __builtin_ctz(clash) + 1, sat_name(cfg->sat),
				 other + 1);
			return buf;
		}
	}
	return NULL;
}

int pads_store(int p, const struct pad_cfg *cfg)
{
	char key[24];

	pads[p] = *cfg;
	snprintf(key, sizeof(key), "pad/%d", p + 1);
	return settings_save_one(key, &pads[p], sizeof(pads[p]));
}

const char *pad_type_name(enum pad_type type)
{
	switch (type) {
	case PAD_ROCKET:
		return "ROCKET";
	case PAD_HYBRID:
		return "HYBRID";
	default:
		return "OFF";
	}
}

const char *pad_name(int p)
{
	static char numbered[NUM_PADS][16];

	if (pads[p].label[0]) {
		return pads[p].label;
	}
	snprintf(numbered[p], sizeof(numbered[p]), "Pad %d", p + 1);
	return numbered[p];
}

void pads_format(char *buf, size_t len, uint64_t mask)
{
	int left = __builtin_popcountll(mask);
	size_t n = 0;

	buf[0] = '\0';
	for (int p = 0; p < NUM_PADS && left > 0; p++) {
		const char *name;

		if (!(mask & BIT64(p))) {
			continue;
		}
		name = pad_name(p);
		/* This name, and room for " +NN" if more follow */
		if (n + (n ? 2 : 0) + strlen(name) + (left > 1 ? 4 : 0) >= len) {
			snprintf(buf + n, len - n, "%s+%d", n ? " " : "", left);
			return;
		}
		n += snprintf(buf + n, len - n, "%s%s", n ? ", " : "", name);
		left--;
	}
}
```

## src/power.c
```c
/* SPDX-License-Identifier: Apache-2.0 */

#include <zephyr/drivers/gpio.h>
#include <zephyr/kernel.h>
#include <zephyr/logging/log.h>

#ifdef CONFIG_ARCH_POSIX
#include <posix_board_if.h>
#endif

#include "inputs.h"
#include "power.h"

LOG_MODULE_REGISTER(power, LOG_LEVEL_INF);

#define USER_NODE DT_PATH(zephyr_user)

#define HAVE_LATCH DT_NODE_HAS_PROP(USER_NODE, pwr_off_gpios)

/* Long enough to read the shutdown splash */
#define OFF_DELAY_MS 1500

#if HAVE_LATCH
/* PWR_OFF high pulls the latch's K node low through Q103 */
static const struct gpio_dt_spec pwr_off = GPIO_DT_SPEC_GET(USER_NODE, pwr_off_gpios);

static int power_init(void)
{
	if (!gpio_is_ready_dt(&pwr_off)) {
		return -ENODEV;
	}
	return gpio_pin_configure_dt(&pwr_off, GPIO_OUTPUT_INACTIVE);
}

SYS_INIT(power_init, APPLICATION, 0);
#endif

static void off_work_fn(struct k_work *work);
static K_WORK_DELAYABLE_DEFINE(off_work, off_work_fn);

static void off_work_fn(struct k_work *work)
{
	ARG_UNUSED(work);

	if (inputs_pressed(BTN_POWER)) {
		k_work_reschedule(&off_work, K_MSEC(20));
		return;
	}
	LOG_INF("power off");
#if HAVE_LATCH
	(void)gpio_pin_set_dt(&pwr_off, 1);
#elif defined(CONFIG_ARCH_POSIX)
	/* native_sim: the process exits */
	posix_exit(0);
#endif
}

bool power_can_off(void)
{
#if HAVE_LATCH
	return gpio_is_ready_dt(&pwr_off);
#else
	return IS_ENABLED(CONFIG_ARCH_POSIX);
#endif
}

void power_off(void)
{
	k_work_reschedule(&off_work, K_MSEC(OFF_DELAY_MS));
}
```
